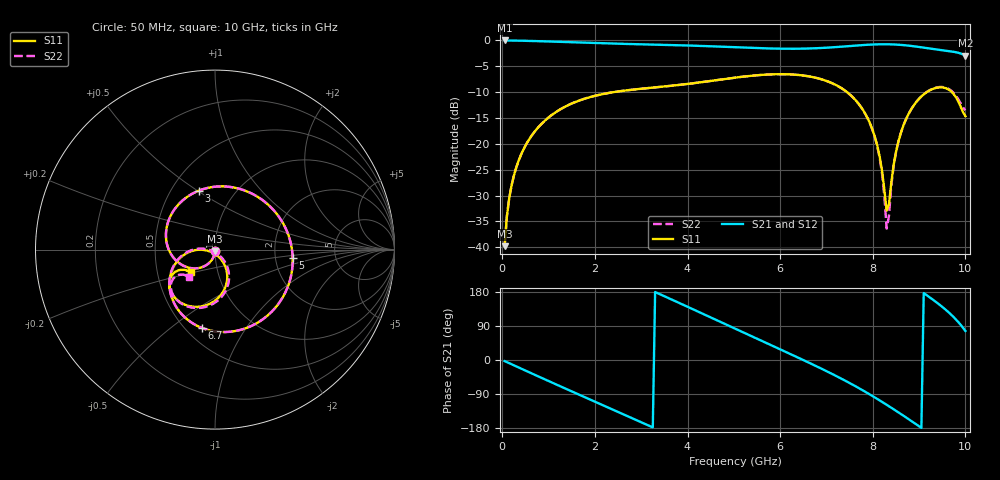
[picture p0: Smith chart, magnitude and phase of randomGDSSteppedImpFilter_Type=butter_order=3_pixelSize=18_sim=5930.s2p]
! freq	dB(S11)	phase(S11)	dB(S12)	phase(S12)
!  dB(S21)	phase(S21)	dB(S22)	phase(S22)
!S-par simulation data
#  GHz  S  DB  R 50
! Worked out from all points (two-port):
!   200 points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, 50 MHz to 10 GHz, reference 50 ohm
!   highest |S21| = -0.01 dB at 50 MHz (marker M1); lowest = -3.0 dB at 10 GHz (marker M2)
!   |S21| within 3 dB of the highest: start of sweep to end of sweep
!   lowest |S11| = -39.8 dB at 50 MHz (marker M3), VSWR 1.02, Z = 50 - j1.02 ohm
!   |S11| at or under -10 dB: start of sweep to 2.409 GHz; 7.444 GHz to 9.168 GHz (1.724 GHz wide, 20.8 % of centre); 9.707 GHz to end of sweep
!   |S22| runs from -39.8 to -6.5 dB; largest |S21 - S12| = 0
!   S11 on the Smith chart (normalised r, x): 50 MHz: 1.00, -0.02; 3 GHz: 0.68, +0.51; 5 GHz: 2.50, -0.27; 6.7 GHz: 0.60, -0.65; 10 GHz: 0.74, -0.19
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0.05  -39.80 -88.9  -0.01 -2.8  -0.01 -2.8  -39.80 -88.9
0.2  -28.06 -100.8  -0.03 -11.2  -0.03 -11.2  -28.06 -100.8
0.5  -20.36 -118.4  -0.08 -28.0  -0.08 -28.0  -20.36 -118.4
1.15  -13.91 -154.6  -0.26 -63.8  -0.26 -63.8  -13.91 -154.5
1.75  -11.36 172.8  -0.45 -96.4  -0.45 -96.4  -11.36 172.9
3  -9.35 105.0  -0.75 -164.1  -0.75 -164.1  -9.35 105.2
3.4  -9.00 83.0  -0.84 173.9  -0.84 173.9  -9.00 83.3
4.25  -8.14 35.8  -1.06 126.5  -1.06 126.5  -8.14 36.1
5  -7.23 -5.9  -1.31 84.2  -1.31 84.2  -7.23 -5.6
5.05  -7.17 -8.6  -1.33 81.4  -1.33 81.4  -7.17 -8.4
5.95  -6.54 -58.2  -1.60 30.9  -1.60 30.9  -6.54 -58.0
6.7  -7.09 -99.8  -1.54 -11.6  -1.54 -11.6  -7.09 -99.8
7.25  -8.85 -131.6  -1.26 -44.7  -1.26 -44.7  -8.86 -131.9
7.85  -14.38 -167.9  -0.87 -84.7  -0.87 -84.7  -14.42 -169.4
8.15  -22.53 -179.5  -0.75 -106.7  -0.75 -106.7  -22.80 175.4
8.3  -32.90 -135.2  -0.75 -118.2  -0.75 -118.2  -36.41 -141.1
8.35  -31.75 -86.8  -0.75 -122.0  -0.75 -122.0  -33.93 -71.7
8.45  -24.14 -58.3  -0.78 -129.9  -0.78 -129.9  -24.37 -49.8
8.55  -19.66 -58.1  -0.83 -137.9  -0.83 -137.9  -19.72 -52.5
8.9  -12.39 -79.3  -1.15 -166.5  -1.15 -166.5  -12.36 -76.2
9.5  -9.09 -127.1  -1.91 140.3  -1.91 140.3  -9.01 -123.9
10  -14.65 -137.4  -2.98 76.7  -2.98 76.7  -13.50 -134.2
